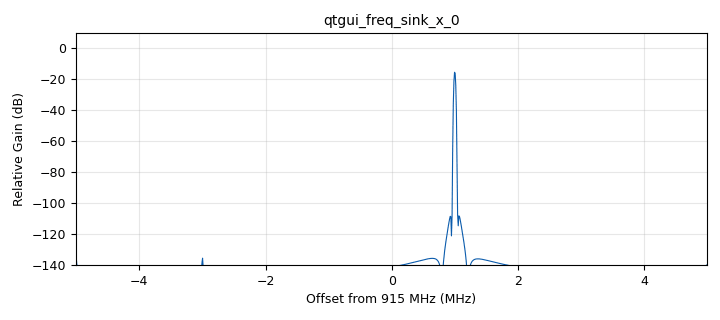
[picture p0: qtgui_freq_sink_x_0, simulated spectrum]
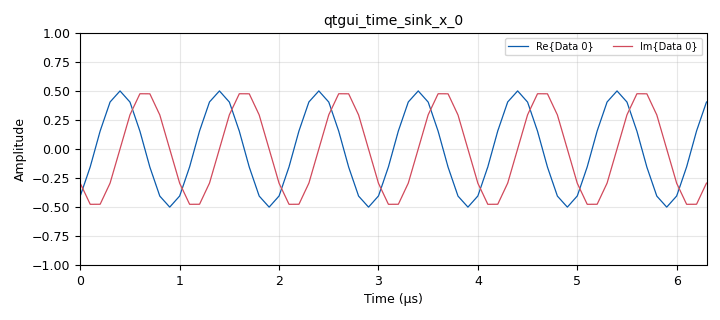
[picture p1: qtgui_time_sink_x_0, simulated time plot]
options:
  parameters:
    author: qkrtjdgus813
    generate_options: qt_gui
    id: rcv_wifi_2025_3_2
    output_language: python
    title: Not titled yet
  states: {}

blocks:
- name: samp_rate
  id: variable
  parameters:
    value: '32000'
  states: {}
- name: analog_sig_source_x_0
  id: analog_sig_source_x
  parameters:
    amp: '0.5'
    freq: '1000000'
    offset: '0'
    phase: '0'
    samp_rate: '10000000'
    type: complex
    waveform: analog.GR_SIN_WAVE
  states: {}
- name: iio_pluto_sink_0
  id: iio_pluto_sink
  parameters:
    attenuation1: '0'
    bandwidth: '10000000'
    buffer_size: '32768'
    cyclic: 'True'
    filter_source: '''Auto'''
    frequency: '915000000'
    samplerate: '10000000'
    type: fc32
    uri: usb:3.6.5
  states: {}
- name: qtgui_freq_sink_x_0
  id: qtgui_freq_sink_x
  parameters:
    bw: '10000000'
    fc: '915000000'
    fftsize: '1024'
    type: complex
  states: {}
- name: qtgui_time_sink_x_0
  id: qtgui_time_sink_x
  parameters:
    size: '64'
    srate: '10000000'
    type: complex
  states: {}

connections:
- [analog_sig_source_x_0, '0', iio_pluto_sink_0, '0']
- [analog_sig_source_x_0, '0', qtgui_freq_sink_x_0, '0']
- [analog_sig_source_x_0, '0', qtgui_time_sink_x_0, '0']

metadata:
  file_format: 1
  grc_version: 3.10.7.0
